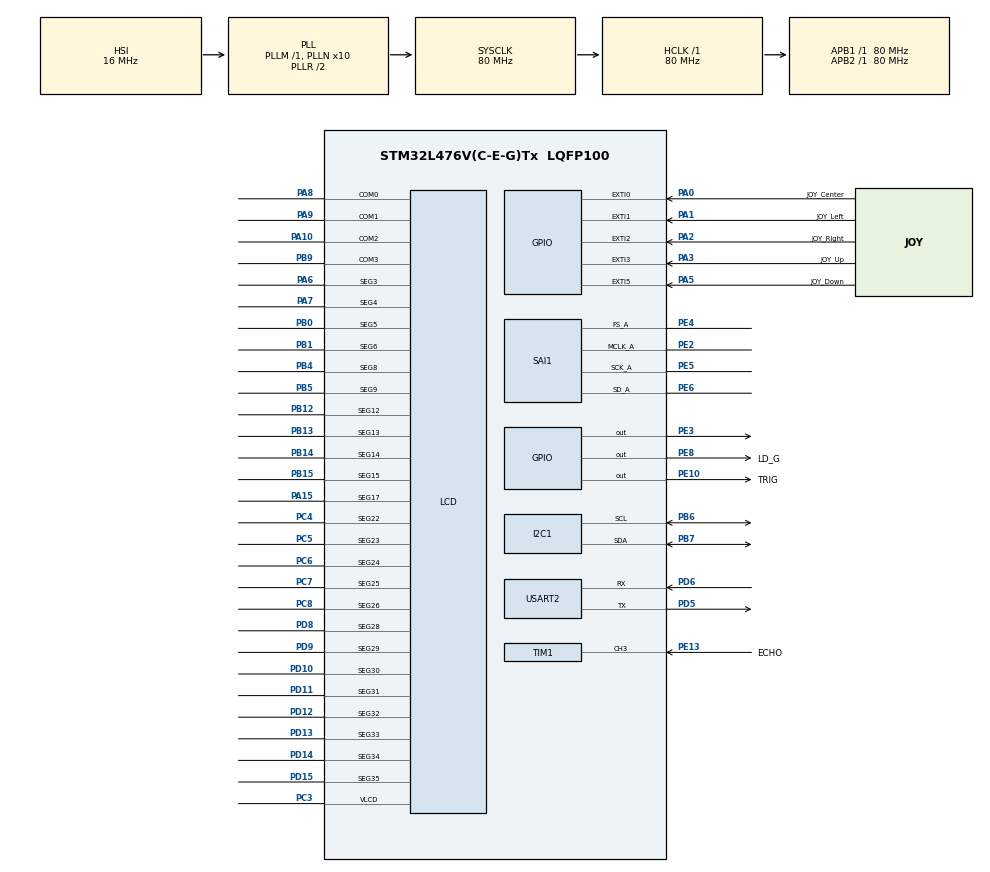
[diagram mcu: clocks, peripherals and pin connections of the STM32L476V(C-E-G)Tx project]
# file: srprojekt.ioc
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Dma.I2C1_TX.1.Direction=DMA_MEMORY_TO_PERIPH
Dma.I2C1_TX.1.Instance=DMA1_Channel6
Dma.I2C1_TX.1.MemDataAlignment=DMA_MDATAALIGN_HALFWORD
Dma.I2C1_TX.1.MemInc=DMA_MINC_ENABLE
Dma.I2C1_TX.1.Mode=DMA_CIRCULAR
Dma.I2C1_TX.1.PeriphDataAlignment=DMA_PDATAALIGN_HALFWORD
Dma.I2C1_TX.1.PeriphInc=DMA_PINC_DISABLE
Dma.I2C1_TX.1.Priority=DMA_PRIORITY_LOW
Dma.Request0=SAI1_A
Dma.Request1=I2C1_TX
Dma.SAI1_A.0.Direction=DMA_MEMORY_TO_PERIPH
Dma.SAI1_A.0.Instance=DMA2_Channel1
Dma.SAI1_A.0.MemDataAlignment=DMA_MDATAALIGN_HALFWORD
Dma.SAI1_A.0.MemInc=DMA_MINC_ENABLE
Dma.SAI1_A.0.Mode=DMA_CIRCULAR
Dma.SAI1_A.0.PeriphDataAlignment=DMA_PDATAALIGN_HALFWORD
Dma.SAI1_A.0.PeriphInc=DMA_PINC_DISABLE
Dma.SAI1_A.0.Priority=DMA_PRIORITY_HIGH
I2C1.Timing=0x10D19CE4
LCD.Bias=LCD_BIAS_1_3
LCD.Divider=LCD_DIVIDER_17
LCD.Prescaler=LCD_PRESCALER_16
Mcu.Family=STM32L4
Mcu.Name=STM32L476V(C-E-G)Tx
Mcu.Package=LQFP100
NVIC.DMA1_Channel6_IRQn=true\:0\:0\:false\:false\:true\:false\:true\:true
NVIC.DMA2_Channel1_IRQn=true\:0\:0\:false\:false\:true\:false\:true\:true
NVIC.EXTI0_IRQn=true\:0\:0\:false\:false\:true\:true\:true\:true
NVIC.EXTI1_IRQn=true\:0\:0\:false\:false\:true\:true\:true\:true
NVIC.EXTI2_IRQn=true\:0\:0\:false\:false\:true\:true\:true\:true
NVIC.EXTI3_IRQn=true\:0\:0\:false\:false\:true\:true\:true\:true
NVIC.EXTI9_5_IRQn=true\:0\:0\:false\:false\:true\:true\:true\:true
NVIC.PriorityGroup=NVIC_PRIORITYGROUP_4
NVIC.TIM1_CC_IRQn=true\:0\:0\:false\:false\:true\:true\:true\:true
PA0.GPIO_Label=JOY_Center
PA0.GPIO_PuPd=GPIO_PULLDOWN
PA0.Signal=GPXTI0
PA1.GPIO_Label=JOY_Left
PA1.GPIO_PuPd=GPIO_PULLDOWN
PA1.Signal=GPXTI1
PA10.Mode=1/4 Duty Cycle
PA10.Signal=LCD_COM2
PA15\ (JTDI).Mode=SEG17
PA15\ (JTDI).Signal=LCD_SEG17
PA2.GPIO_Label=JOY_Right
PA2.GPIO_PuPd=GPIO_PULLDOWN
PA2.Signal=GPXTI2
PA3.GPIO_Label=JOY_Up
PA3.GPIO_PuPd=GPIO_PULLDOWN
PA3.Signal=GPXTI3
PA5.GPIO_Label=JOY_Down
PA5.GPIO_PuPd=GPIO_PULLDOWN
PA5.Signal=GPXTI5
PA6.Mode=SEG3
PA6.Signal=LCD_SEG3
PA7.Mode=SEG4
PA7.Signal=LCD_SEG4
PA8.Mode=1/4 Duty Cycle
PA8.Signal=LCD_COM0
PA9.Mode=1/4 Duty Cycle
PA9.Signal=LCD_COM1
PB0.Mode=SEG5
PB0.Signal=LCD_SEG5
PB1.Mode=SEG6
PB1.Signal=LCD_SEG6
PB12.Mode=SEG12
PB12.Signal=LCD_SEG12
PB13.Mode=SEG13
PB13.Signal=LCD_SEG13
PB14.Mode=SEG14
PB14.Signal=LCD_SEG14
PB15.Mode=SEG15
PB15.Signal=LCD_SEG15
PB4\ (NJTRST).Mode=SEG8
PB4\ (NJTRST).Signal=LCD_SEG8
PB5.Mode=SEG9
PB5.Signal=LCD_SEG9
PB6.Mode=I2C
PB6.Signal=I2C1_SCL
PB7.Mode=I2C
PB7.Signal=I2C1_SDA
PB9.Mode=1/4 Duty Cycle
PB9.Signal=LCD_COM3
PC3.Mode=1/4 Duty Cycle
PC3.Signal=LCD_VLCD
PC4.Mode=SEG22
PC4.Signal=LCD_SEG22
PC5.Mode=SEG23
PC5.Signal=LCD_SEG23
PC6.Mode=SEG24
PC6.Signal=LCD_SEG24
PC7.Mode=SEG25
PC7.Signal=LCD_SEG25
PC8.Mode=SEG26
PC8.Signal=LCD_SEG26
PD10.Mode=SEG30
PD10.Signal=LCD_SEG30
PD11.Mode=SEG31
PD11.Signal=LCD_SEG31
PD12.Mode=SEG32
PD12.Signal=LCD_SEG32
PD13.Mode=SEG33
PD13.Signal=LCD_SEG33
PD14.Mode=SEG34
PD14.Signal=LCD_SEG34
PD15.Mode=SEG35
PD15.Signal=LCD_SEG35
PD5.Mode=Asynchronous
PD5.Signal=USART2_TX
PD6.Mode=Asynchronous
PD6.Signal=USART2_RX
PD8.Mode=SEG28
PD8.Signal=LCD_SEG28
PD9.Mode=SEG29
PD9.Signal=LCD_SEG29
PE10.GPIO_Label=TRIG
PE10.PinState=GPIO_PIN_SET
PE10.Signal=GPIO_Output
PE13.GPIO_Label=ECHO
PE13.Signal=S_TIM1_CH3
PE2.Mode=SAI_A_MasterWithClock
PE2.Signal=SAI1_MCLK_A
PE3.Signal=GPIO_Output
PE4.Mode=SAI_A_MasterWithClock
PE4.Signal=SAI1_FS_A
PE5.Mode=SAI_A_MasterWithClock
PE5.Signal=SAI1_SCK_A
PE6.Mode=SAI_A_MasterWithClock
PE6.Signal=SAI1_SD_A
PE8.GPIO_Label=LD_G
PE8.GPIO_PuPd=GPIO_PULLUP
PE8.Signal=GPIO_Output
ProjectManager.HeapSize=0x200
ProjectManager.StackSize=0x400
ProjectManager.TargetToolchain=STM32CubeIDE
RCC.ADCFreq_Value=64000000
RCC.AHBFreq_Value=80000000
RCC.APB1Freq_Value=80000000
RCC.APB1TimFreq_Value=80000000
RCC.APB2Freq_Value=80000000
RCC.APB2TimFreq_Value=80000000
RCC.CortexFreq_Value=80000000
RCC.HCLKFreq_Value=80000000
RCC.HSE_VALUE=8000000
RCC.HSI_VALUE=16000000
RCC.LSE_VALUE=32768
RCC.MSI_VALUE=4000000
RCC.PLLN=10
RCC.PLLSourceVirtual=RCC_PLLSOURCE_HSI
RCC.SYSCLKFreq_VALUE=80000000
RCC.SYSCLKSource=RCC_SYSCLKSOURCE_PLLCLK
RCC.USBFreq_Value=64000000
RCC.VCOOutputFreq_Value=160000000
SAI1.AudioFrequency-SAI_A_MasterWithClock=SAI_AUDIO_FREQUENCY_16K
SAI1.ErrorAudioFreq-SAI_A_MasterWithClock=11.6 %
SAI1.InitProtocol-SAI_A_MasterWithClock=Enable
SAI1.Instance-SAI_A_MasterWithClock=SAI$Index_Block_A
SAI1.MClockEnable-SAI_A_MasterWithClock=SAI_MASTERCLOCK_ENABLE
SAI1.RealAudioFreq-SAI_A_MasterWithClock=17.857 KHz
SAI1.VirtualMode-SAI_A_MasterWithClock=VM_MASTER
SAI1.VirtualProtocol-SAI_A_BASIC=VM_BASIC_PROTOCOL
SH.S_TIM1_CH3.0=TIM1_CH3,Input_Capture3_from_TI3
TIM1.Channel-Input_Capture3_from_TI3=TIM_CHANNEL_3
TIM1.Prescaler=80-1
USART2.VirtualMode-Asynchronous=VM_ASYNC
VP_LCD_LCD_mux.Mode=Multiplex
VP_SAI1_VP_$IpInstance_SAIA_SAI_BASIC.Mode=SAI_A_BASIC
board=custom

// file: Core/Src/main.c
/* USER CODE BEGIN Header */
/**
  ******************************************************************************
  * @file           : main.c
  * @brief          : Main program body
  ******************************************************************************
  * @attention
  *
  * Copyright (c) 2025 STMicroelectronics.
  * All rights reserved.
  *
  * This software is licensed under terms that can be found in the LICENSE file
  * in the root directory of this software component.
  * If no LICENSE file comes with this software, it is provided AS-IS.
  *
  ******************************************************************************
  */
/* USER CODE END Header */
#include "main.h"
#include "dma.h"
#include "i2c.h"
#include "lcd.h"
#include "sai.h"
#include "tim.h"
#include "usart.h"
#include "gpio.h"

/* USER CODE BEGIN Includes */
#include "czujnik.h"
#include <stdlib.h>
#include <math.h>
/* USER CODE END Includes */

/* USER CODE BEGIN PD */
#define CS43L22_I2C_ADDR  0x94
#define SAMPLE_RATE       16000
#define PI                3.14159265f
// Definicje nut

// 2oktawa
#define NOTE_C2  65.41f
#define NOTE_Cis2 69.30f
#define NOTE_D2  73.42f
#define NOTE_Dis2 77.78f
#define NOTE_E2  82.41f
#define NOTE_F2  87.31f
#define NOTE_Fis2 92.50
#define NOTE_G2  98.00f
#define NOTE_Gis2 103.83
#define NOTE_A2  110.00f
#define NOTE_Ais2 116.54
#define NOTE_H2  123.47f
// 3 oktawa
#define NOTE_C3  130.81f
#define NOTE_Cis3 138.59f
#define NOTE_D3  146.83f
#define NOTE_Dis3 155.56f
#define NOTE_E3  164.81f
#define NOTE_F3  174.61f
#define NOTE_Fis3 185.00f
#define NOTE_G3  196.00f
#define NOTE_Gis3 207.65
#define NOTE_A3  220.00f
#define NOTE_Ais3 233.08f
#define NOTE_H3  246.94f
// 4 oktawa
#define NOTE_C4  261.63f
#define NOTE_Cis4 277.18
#define NOTE_D4 293.66f
#define NOTE_Dis4 311.13f
#define NOTE_E4  329.63f
#define NOTE_F4  349.99f
#define NOTE_Fis4 369.99f
#define NOTE_G4  392.00f
#define NOTE_Gis4 415.30f
#define NOTE_A4  440.00f
#define NOTE_Ais4 466.16f
#define NOTE_H4  493.88f
//5 oktawa
#define NOTE_C5 523.25f
#define NOTE_Cis5 554.37f
#define NOTE_D5 587.33f
#define NOTE_Dis5 622.25f
#define NOTE_E5 659.25f
#define NOTE_F5 698.46f
#define NOTE_FIs5 739.99f
#define NOTE_G5 783.99f
#define NOTE_Gis5 830.61f
#define NOTE_A5 880.00f
#define NOTE_Ais5 932.33f
#define NOTE_H5 987.77f
//6 oktawa
#define NOTE_C6 1046.50f

//wybrana ilosc skali
#define NUM_SCALES 4
#define NUM_NOTES 8
#define NUM_NOTES_PLUS 12
/* USER CODE END PD */

/* USER CODE BEGIN PV */

// Bufor audio
#define BUFFER_SIZE       2048
int16_t tx_buffer[BUFFER_SIZE];

// Zmienne syntezy
volatile float current_freq = 0.0f; //aktualna f dzwieku
float phase_pos = 0.0f; //obecna faza
float volume = 8000.0f; //do glosnosci
char tab_liter[]={'C','D','E','F','G','A','H', 'C'};

float notes[NUM_SCALES][NUM_NOTES]={
//inne skale
		{NOTE_C2,NOTE_D2 ,NOTE_E2, NOTE_F2 ,NOTE_G2 ,NOTE_A2, NOTE_H2, NOTE_C3},
		{NOTE_C3,NOTE_D3 ,NOTE_E3, NOTE_F3 ,NOTE_G3 ,NOTE_A3, NOTE_H3, NOTE_C4},
		{ NOTE_C4,NOTE_D4 ,NOTE_E4, NOTE_F4 ,NOTE_G4 ,NOTE_A4, NOTE_H4, NOTE_C5},
		{NOTE_C5,NOTE_D5 ,NOTE_E5, NOTE_F5 ,NOTE_G5 ,NOTE_A5, NOTE_H5, NOTE_C6}
};
float notesPlus[NUM_SCALES][NUM_NOTES_PLUS]={
		{NOTE_C2,NOTE_Cis2, NOTE_D2, NOTE_Dis2,NOTE_E2, NOTE_F2 ,NOTE_G2, NOTE_Gis2,NOTE_A2,NOTE_Ais2, NOTE_H2, NOTE_C3},
		{NOTE_C3,NOTE_Cis3, NOTE_D3, NOTE_Dis3,NOTE_E3, NOTE_F3 ,NOTE_G3, NOTE_Gis3,NOTE_A3,NOTE_Ais3, NOTE_H3, NOTE_C4},
		{NOTE_C4,NOTE_Cis4, NOTE_D4, NOTE_Dis4,NOTE_E4, NOTE_F4 ,NOTE_G4, NOTE_Gis4,NOTE_A4,NOTE_Ais4, NOTE_H4, NOTE_C5},
		{NOTE_C5,NOTE_Cis5, NOTE_D5, NOTE_Dis5,NOTE_E5, NOTE_F5 ,NOTE_G5, NOTE_Gis5,NOTE_A5,NOTE_Ais5, NOTE_H5, NOTE_C6}
		};
uint32_t min_distance=3;
uint32_t max_distance=24;
uint32_t max_distance_plus=36;
uint32_t last_distance=0;
int current_scale=2;
volatile int autotune=1;
volatile int state=0;
/* USER CODE END PV */

void SystemClock_Config(void);
/* USER CODE BEGIN PFP */
void CS43L22_Init(I2C_HandleTypeDef *hi2c);
int _write(int file, char *ptr, int len);
void Fill_Sine_Buffer(int16_t *buffer, int num_samples);
void HAL_SAI_TxHalfCpltCallback(SAI_HandleTypeDef *hsai);
void HAL_SAI_TxCpltCallback(SAI_HandleTypeDef *hsai);
void Autotune_play(int numer_skali);
void play(int numer_skali);
void PlusPlay(int numer_skali);
void Gama(int numer_skali);
void HAL_GPIO_EXTI_Callback(uint16_t GPIO_Pin);
/* USER CODE END PFP */

/* USER CODE BEGIN 0 */
void CS43L22_Init(I2C_HandleTypeDef *hi2c) {
    uint8_t txData[2];

    // Hardware reset
    HAL_GPIO_WritePin(GPIOE, GPIO_PIN_3, GPIO_PIN_SET);
    HAL_Delay(50); //reset na 50ms

    // Power Down
    txData[0] = 0x02;
    txData[1] = 0x01; // Power down
    HAL_I2C_Master_Transmit(hi2c, CS43L22_I2C_ADDR, txData, 2, HAL_MAX_DELAY);

    // Speaker OFF, Headpfones ON
    txData[0] = 0x04;
    txData[1] = 0xAF;
    HAL_I2C_Master_Transmit(hi2c, CS43L22_I2C_ADDR, txData, 2, HAL_MAX_DELAY);

    // Auto clock detect
    txData[0] = 0x05;
    txData[1] = 0x81;//wlacza auto-detekcje zegara
    HAL_I2C_Master_Transmit(hi2c, CS43L22_I2C_ADDR, txData, 2, HAL_MAX_DELAY);

    // DISABLE analog inputs
    txData[0] = 0x06;
    txData[1] = 0x04; // Only DAC enabled
    HAL_I2C_Master_Transmit(hi2c, CS43L22_I2C_ADDR, txData, 2, HAL_MAX_DELAY);

    // Mute both channels on startup
    txData[0] = 0x20; txData[1] = 0xFF;
    HAL_I2C_Master_Transmit(hi2c, CS43L22_I2C_ADDR, txData, 2, HAL_MAX_DELAY);
    txData[0] = 0x21; txData[1] = 0xFF;
    HAL_I2C_Master_Transmit(hi2c, CS43L22_I2C_ADDR, txData, 2, HAL_MAX_DELAY);
	//brak trzaskow na poczatku

    HAL_Delay(10);

    // POWER UP + DAC START (PLAY MODE)
    txData[0] = 0x02;
    txData[1] = 0x9E; // Playback ON + HP enabled
    HAL_I2C_Master_Transmit(hi2c, CS43L22_I2C_ADDR, txData, 2, HAL_MAX_DELAY);

    HAL_Delay(100);

    // Ustawienia glosnosci
    txData[0] = 0x20; txData[1] = 0x18;
    HAL_I2C_Master_Transmit(hi2c, CS43L22_I2C_ADDR, txData, 2, HAL_MAX_DELAY);
    txData[0] = 0x21; txData[1] = 0x18;
    HAL_I2C_Master_Transmit(hi2c, CS43L22_I2C_ADDR, txData, 2, HAL_MAX_DELAY);
}

int _write(int file, char *ptr, int len)
{
    HAL_UART_Transmit(&huart2, (uint8_t*)ptr, len, 50);
    return len;
}
// generacja probek sinusa do bufora

void Fill_Sine_Buffer(int16_t *buffer, int num_samples) {
    for (int i = 0; i < num_samples; i += 2) { // Krok co 2, bo stereo (L i R)
        float sample_val = 0.0f;

        if (current_freq > 0.0f) {
            // Obliczenia wartosci sinusa  A * sin(faza)
            sample_val = volume * sinf(phase_pos);

            // Zwiekszenie fazy
            phase_pos += (2.0f * PI * current_freq) / (float)SAMPLE_RATE;

            // Zeijanie fazy w zakresie 0..2PI, zeby nie rosla w nieskonczonosc
            if (phase_pos >= 2.0f * PI) {
                phase_pos -= 2.0f * PI;
            }
        } else {
            sample_val = 0.0f; // Cisza

        }

        buffer[i]     = (int16_t)sample_val; // Left
        buffer[i + 1] = (int16_t)sample_val; // Right
    }
}

// Callbacki DMA - wywolywane automatycznie, gdy SAI przesle polowe i calosc bufora
// Dzięki temu dzwiek jest ciągly i plynny.

void HAL_SAI_TxHalfCpltCallback(SAI_HandleTypeDef *hsai) {

    Fill_Sine_Buffer(&tx_buffer[0], BUFFER_SIZE / 2);
}

void HAL_SAI_TxCpltCallback(SAI_HandleTypeDef *hsai) {

    Fill_Sine_Buffer(&tx_buffer[BUFFER_SIZE / 2], BUFFER_SIZE / 2);
}
//ping-pong caly bufor -> dac, po pierwszej polowie wywolany txhalf...
//napidanie pierwszej polowy nowymi probkami i po drugiej druga -> dma caly czas wysyla dzwiek ciagly

void play(int numer_skali)
{
	if(numer_skali>NUM_SCALES || numer_skali<0)return;
	if(distance>max_distance) current_freq = notes[numer_skali][NUM_NOTES-1];
	else if(distance<min_distance) current_freq = notes[numer_skali][0];
	else{
		 current_freq = notes[numer_skali][0] + (notes[numer_skali][NUM_NOTES-1] - notes[numer_skali][0]) * (distance - min_distance) / (float)(max_distance - min_distance);
	}
	 HAL_LCD_Clear(&hlcd);
}

void Autotune_play(int numer_skali){
	if(numer_skali>NUM_SCALES || numer_skali<0)return;
	if(abs(last_distance-distance)<3){
		 distance = last_distance;
	}
	else{
		last_distance = distance;
	}
	int index;
	if(distance>max_distance)index=NUM_NOTES-1;
	else if(distance<min_distance)index =0;
	else index = (distance-min_distance)/3;
	current_freq = notes[numer_skali][index];
	DisplayLetter(tab_liter[index]);
}

void PlusPlay(int numer_skali){
    if (numer_skali >= NUM_SCALES || numer_skali < 0) return;
    if (abs(last_distance - distance) < 3) {
        distance = last_distance;
    }
    else {
        last_distance = distance;
    }

    int index;
    if (distance >= max_distance_plus)
        index = NUM_NOTES_PLUS - 1;
    else if (distance <= min_distance)
        index = 0;
    else
        index = (distance - min_distance) *
                (NUM_NOTES_PLUS - 1) /
                (max_distance_plus - min_distance);

    current_freq = notesPlus[numer_skali][index];
    HAL_LCD_Clear(&hlcd);
}

void Gama(int numer_skali){
	for(int i=0; i<8; i++){
		current_freq=notes[numer_skali][i];
		HAL_Delay(500);
	}
}

void HAL_GPIO_EXTI_Callback(uint16_t GPIO_Pin)
{
	if(GPIO_Pin == JOY_Center_Pin) {
		state = !state;
	}
	else if(GPIO_Pin == JOY_Up_Pin){
		if(current_scale<NUM_SCALES-1){
			current_scale++;
		}
	}
	else if(GPIO_Pin == JOY_Down_Pin){
		if(current_scale>0){
			current_scale-=1;
		}
	}
	else if(GPIO_Pin == JOY_Right_Pin){
		if(autotune<2)autotune++;
	}
	else if(GPIO_Pin == JOY_Left_Pin){
		if(autotune>0) autotune-=1;
	}

}
/* USER CODE END 0 */

int main(void)
{

  /* USER CODE BEGIN 1 */
// aktualizacja
  /* USER CODE END 1 */

  /* MCU Configuration--------------------------------------------------------*/

  /* Reset of all peripherals, Initializes the Flash interface and the Systick. */
  HAL_Init();

  /* Configure the system clock */
  SystemClock_Config();

  /* Initialize all configured peripherals */
  MX_GPIO_Init();
  MX_DMA_Init();
  MX_I2C1_Init();
  MX_SAI1_Init();
  MX_TIM1_Init();
  MX_LCD_Init();
  MX_USART2_UART_Init();
  /* USER CODE BEGIN 2 */
  CS43L22_Init(&hi2c1);//inicjalizacja

	// Wstępne wypełnienie bufora ciszą lub pierwszą nutą
	Fill_Sine_Buffer(tx_buffer, BUFFER_SIZE);

	// Start DMA w trybie CIRCULAr
	if(HAL_SAI_Transmit_DMA(&hsai_BlockA1, (uint8_t*)tx_buffer, BUFFER_SIZE) != HAL_OK)
	{
		Error_Handler();
	}

  HAL_TIM_IC_Start_IT(&htim1, TIM_CHANNEL_3);

  uint32_t last_measure_time = HAL_GetTick();
  /* USER CODE END 2 */

  /* Infinite loop */
  while (1)
  {

    /* USER CODE BEGIN 3 */

	if(state){
		if(HAL_GetTick()-last_measure_time>=50){
			read_HCSR04();
			last_measure_time=HAL_GetTick();
		}

		printf("Distance: %li\r\n", distance);
		if(autotune==1){
			Autotune_play(current_scale);
		}
		else if(autotune==2){
			PlusPlay(current_scale);
		}
		else{
			play(current_scale);
		}
		HAL_GPIO_WritePin(LD_G_GPIO_Port, LD_G_Pin, RESET);
	}
	else{
		HAL_GPIO_WritePin(LD_G_GPIO_Port, LD_G_Pin, SET);
		current_freq = 0.0f; //zatrzymanie dźwięku - pauza
	}

  }

  /* USER CODE END 3 */
}

void SystemClock_Config(void)
{
  RCC_OscInitTypeDef RCC_OscInitStruct = {0};
  RCC_ClkInitTypeDef RCC_ClkInitStruct = {0};

  /** Configure the main internal regulator output voltage
  */
  if (HAL_PWREx_ControlVoltageScaling(PWR_REGULATOR_VOLTAGE_SCALE1) != HAL_OK)
  {
    Error_Handler();
  }

  /** Initializes the RCC Oscillators according to the specified parameters
  * in the RCC_OscInitTypeDef structure.
  */
  RCC_OscInitStruct.OscillatorType = RCC_OSCILLATORTYPE_HSI|RCC_OSCILLATORTYPE_LSI;
  RCC_OscInitStruct.HSIState = RCC_HSI_ON;
  RCC_OscInitStruct.HSICalibrationValue = RCC_HSICALIBRATION_DEFAULT;
  RCC_OscInitStruct.LSIState = RCC_LSI_ON;
  RCC_OscInitStruct.PLL.PLLState = RCC_PLL_ON;
  RCC_OscInitStruct.PLL.PLLSource = RCC_PLLSOURCE_HSI;
  RCC_OscInitStruct.PLL.PLLM = 1;
  RCC_OscInitStruct.PLL.PLLN = 10;
  RCC_OscInitStruct.PLL.PLLP = RCC_PLLP_DIV7;
  RCC_OscInitStruct.PLL.PLLQ = RCC_PLLQ_DIV2;
  RCC_OscInitStruct.PLL.PLLR = RCC_PLLR_DIV2;
  if (HAL_RCC_OscConfig(&RCC_OscInitStruct) != HAL_OK)
  {
    Error_Handler();
  }

  /** Initializes the CPU, AHB and APB buses clocks
  */
  RCC_ClkInitStruct.ClockType = RCC_CLOCKTYPE_HCLK|RCC_CLOCKTYPE_SYSCLK
                              |RCC_CLOCKTYPE_PCLK1|RCC_CLOCKTYPE_PCLK2;
  RCC_ClkInitStruct.SYSCLKSource = RCC_SYSCLKSOURCE_PLLCLK;
  RCC_ClkInitStruct.AHBCLKDivider = RCC_SYSCLK_DIV1;
  RCC_ClkInitStruct.APB1CLKDivider = RCC_HCLK_DIV1;
  RCC_ClkInitStruct.APB2CLKDivider = RCC_HCLK_DIV1;

  if (HAL_RCC_ClockConfig(&RCC_ClkInitStruct, FLASH_LATENCY_4) != HAL_OK)
  {
    Error_Handler();
  }
}

/* USER CODE BEGIN 4 */
//void MX_DMA_Init(void)
//{
//  /* DMA controller clock enable */
//  __HAL_RCC_DMA2_CLK_ENABLE(); // SAI1 zazwyczaj używa DMA2
//
//  /* DMA interrupt init */
//  /* DMA2_Channel1_IRQn interrupt configuration */
//  // Ustawiamy priorytet i włączamy przerwanie w NVIC
//  HAL_NVIC_SetPriority(DMA2_Channel1_IRQn, 0, 0);
//  HAL_NVIC_EnableIRQ(DMA2_Channel1_IRQn);
//}
/* USER CODE END 4 */

void Error_Handler(void)
{
  __disable_irq();
  while (1)
  {
  }
}
